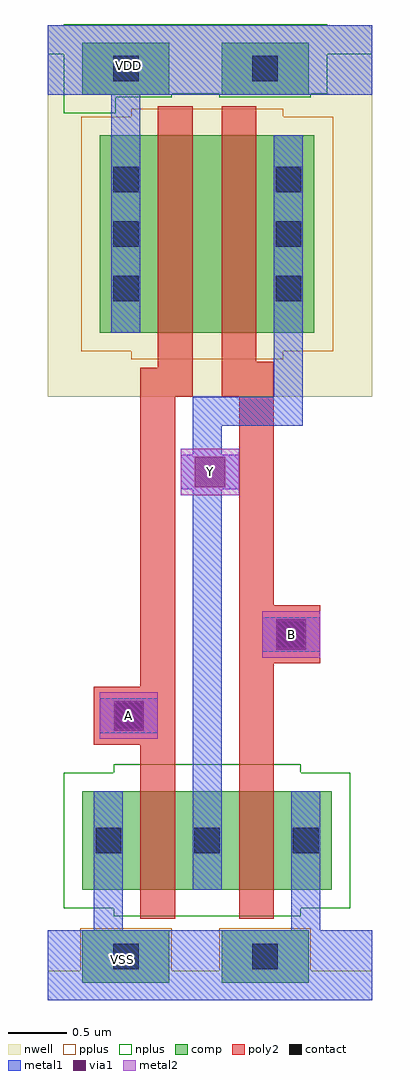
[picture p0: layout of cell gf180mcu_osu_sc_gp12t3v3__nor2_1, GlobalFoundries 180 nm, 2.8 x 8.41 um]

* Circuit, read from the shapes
.subckt gf180mcu_osu_sc_gp12t3v3__nor2_1 A B VDD VSS Y
XM1 Y A VSS VSS nfet_03v3 w=0.85u l=0.3u
XM2 VSS B Y VSS nfet_03v3 w=0.85u l=0.3u
XM3 n1 A VDD VDD pfet_03v3 w=1.7u l=0.3u
XM4 Y B n1 VDD pfet_03v3 w=1.7u l=0.3u
.ends

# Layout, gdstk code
import gdstk
lib = gdstk.Library(unit=1e-6, precision=1e-09)
def R(c, l, rs):  # rectangles x0, y0, x1, y1
    for r in rs: c.add(gdstk.rectangle(r[:2], r[2:], *l))
def A(c, l, x, y, w, h, nx, ny, dx, dy):  # array of equal rectangles
    R(c, l, [(x+i*dx, y+j*dy, x+i*dx+w, y+j*dy+h) for i in range(nx) for j in range(ny)])
nwell = (21, 0)
comp = (22, 0)
poly2 = (30, 0)
pplus = (31, 0)
nplus = (32, 0)
contact = (33, 0)
metal1 = (34, 0)
via1 = (35, 0)
metal2 = (36, 0)

gf180mcu_osu_sc_gp12t3v3 = lib.new_cell('gf180mcu_osu_sc_gp12t3v3__nor2_1')
R(gf180mcu_osu_sc_gp12t3v3, nwell, [(0,5.2,2.8,8.4)])
R(gf180mcu_osu_sc_gp12t3v3, comp, [(0.3,0.15,1.05,0.6), (1.5,0.15,2.25,0.6), (0.3,0.95,2.45,1.8), (0.45,5.75,2.3,7.45), (0.3,7.8,1.05,8.25), (1.5,7.8,2.25,8.25)])
R(gf180mcu_osu_sc_gp12t3v3, poly2, [(0.8,0.7,1.1,2.2), (1.65,0.7,1.95,2.9), (0.4,2.2,1.1,2.7), (0.8,2.7,1.1,5.2), (1.65,2.9,2.35,3.4), (1.65,3.4,1.95,5.2), (0.8,5.2,1.25,5.45), (1.5,5.2,1.95,5.5), (0.95,5.45,1.25,7.7), (1.5,5.5,1.8,7.7)])
R(gf180mcu_osu_sc_gp12t3v3, pplus, [(0,0,2.8,0.25), (0.28,0.13,1.07,0.62), (1.48,0.13,2.27,0.62), (0.72,5.52,2.03,5.59), (0.29,5.59,2.46,7.61), (0.72,7.61,2.03,7.68)])
R(gf180mcu_osu_sc_gp12t3v3, nplus, [(0.57,0.72,2.18,0.79), (0.14,0.79,2.61,1.96), (0.57,1.96,2.18,2.03), (0.14,7.64,0.59,7.78), (0.14,7.78,1.07,7.81), (1.48,7.78,2.27,7.81), (0.14,7.81,2.41,8.15), (0,8.15,2.8,8.4), (0,8.15,2.8,8.4), (0.14,8.4,2.41,8.41)])
A(gf180mcu_osu_sc_gp12t3v3, contact, 0.415, 1.265, 0.22, 0.22, 3, 1, 0.85, 0)
A(gf180mcu_osu_sc_gp12t3v3, contact, 0.565, 6.02, 0.22, 0.22, 1, 3, 0, 0.47)
A(gf180mcu_osu_sc_gp12t3v3, contact, 1.965, 6.02, 0.22, 0.22, 1, 3, 0, 0.47)
R(gf180mcu_osu_sc_gp12t3v3, contact, [(0.565,0.265,0.785,0.485), (1.765,0.265,1.985,0.485), (0.59,2.34,0.81,2.56), (1.99,3.04,2.21,3.26), (0.565,7.915,0.785,8.135), (1.765,7.915,1.985,8.135)])
R(gf180mcu_osu_sc_gp12t3v3, metal1, [(0,0,2.8,0.6), (0.4,0.6,0.65,1.8), (2.1,0.6,2.35,1.8), (1.25,0.95,1.5,4.4), (0.45,2.3,0.95,2.6), (1.85,3,2.35,3.3), (1.15,4.4,1.65,4.7), (1.25,4.7,1.5,4.95), (1.25,4.95,2.2,5.2), (1.95,5.2,2.2,7.45), (0.55,5.75,0.8,7.8), (0,7.8,2.8,8.4)])
R(gf180mcu_osu_sc_gp12t3v3, via1, [(0.57,2.32,0.83,2.58), (1.97,3.02,2.23,3.28), (1.27,4.42,1.53,4.68)])
R(gf180mcu_osu_sc_gp12t3v3, metal2, [(0.45,2.25,0.95,2.65), (1.85,2.95,2.35,3.35), (1.15,4.35,1.65,4.75)])
gf180mcu_osu_sc_gp12t3v3.add(gdstk.Label('A', (0.7,2.45), layer=36, texttype=10))
gf180mcu_osu_sc_gp12t3v3.add(gdstk.Label('B', (2.1,3.15), layer=36, texttype=10))
gf180mcu_osu_sc_gp12t3v3.add(gdstk.Label('Y', (1.4,4.55), layer=36, texttype=10))
gf180mcu_osu_sc_gp12t3v3.add(gdstk.Label('VDD', (0.7,8.05), layer=34, texttype=10))
gf180mcu_osu_sc_gp12t3v3.add(gdstk.Label('VSS', (0.65,0.35), layer=34, texttype=10))

lib.write_gds('gf180mcu_osu_sc_gp12t3v3__nor2_1.gds')
